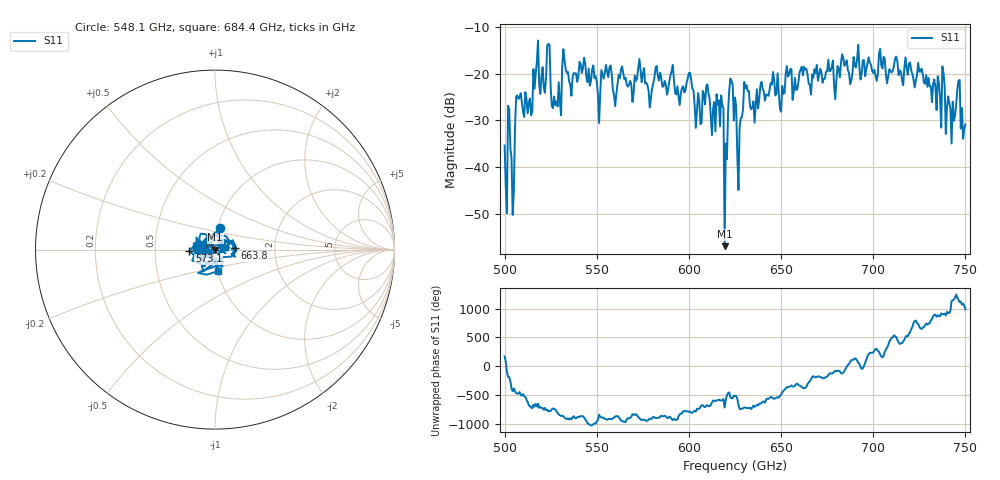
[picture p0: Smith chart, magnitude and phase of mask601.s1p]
!Created with skrf (http://scikit-rf.org).
# GHz S MA R 50.0
!freq magS11 angS11
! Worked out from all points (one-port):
!   401 points, 500 GHz to 750 GHz, reference 50 ohm
!   lowest |S11| = -57.0 dB at 619.4 GHz (marker M1), VSWR 1.00, Z = 50.1 + j0.012 ohm
!   |S11| at or under -10 dB: start of sweep to end of sweep
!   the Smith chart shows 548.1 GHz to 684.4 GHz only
!   S11 on the Smith chart (normalised r, x): 548.1 GHz: 1.03, +0.25; 573.1 GHz: 0.75, -0.01; 663.8 GHz: 1.25, +0.02; 684.4 GHz: 1.01, -0.25
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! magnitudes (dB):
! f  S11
! 500 GHz  -35.4
! 504.4 GHz  -50.3
! 507.5 GHz  -25.4
! 513.8 GHz  -25.4
! 516.9 GHz  -20.0
! 523.8 GHz  -13.6
! 526.9 GHz  -24.9
! 531.2 GHz  -18.4
! 548.1 GHz  -18.2
! 562.5 GHz  -21.0
! 573.1 GHz  -16.9
! 593.8 GHz  -22.7
! 616.2 GHz  -25.7
! 619.4 GHz  -57.0
! 620.6 GHz  -38.4
! 622.5 GHz  -21.1
! 625 GHz  -25.1
! 627.5 GHz  -31.6
! 631.2 GHz  -22.5
! 634.4 GHz  -27.2
! 656.2 GHz  -25.6
! 663.8 GHz  -19.0
! 684.4 GHz  -18.3
! 687.5 GHz  -22.3
! 718.8 GHz  -20.3
! 743.1 GHz  -26.0
! 745.6 GHz  -23.4
! 750 GHz  -30.9
